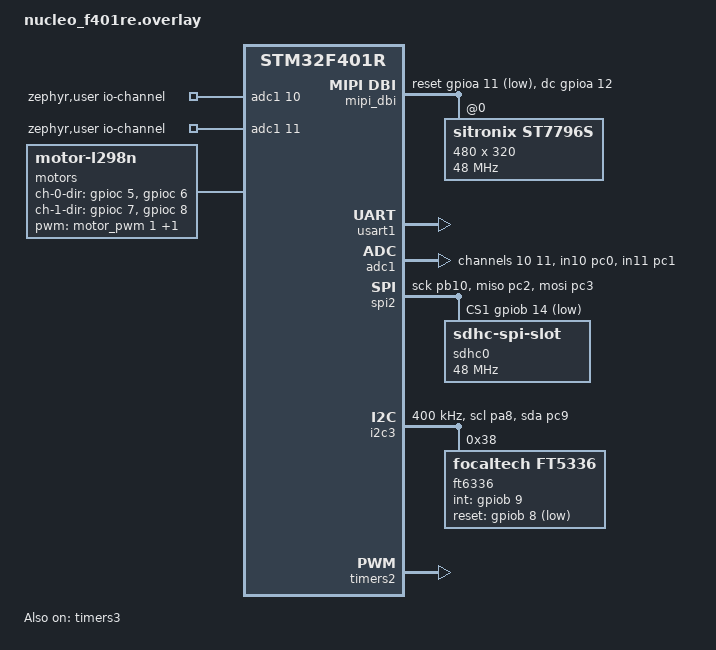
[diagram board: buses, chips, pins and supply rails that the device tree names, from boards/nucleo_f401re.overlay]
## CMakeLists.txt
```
#-------------------------------------------------------------------------------
# Zephyr Reloading Controller
#
# Copyright (c) 2025 Jared Woolston
# SPDX-License-Identifier: Apache-2.0

cmake_minimum_required(VERSION 3.13.1)
find_package(Zephyr REQUIRED HINTS $ENV{ZEPHYR_BASE})

project(app LANGUAGES C)

set(LVGL_DIR ${ZEPHYR_LVGL_MODULE_DIR})

target_sources(app PRIVATE
        src/main.c
        src/filesystem/filesystem.c
        src/filesystem/filesystem.h
        src/filesystem/lv_fs_zephyr.c
        src/filesystem/lv_fs_zephyr_conf.h
        src/gui/gui.c
        src/gui/gui.h
        src/feeders/feeder_subsystem.c
        src/feeders/feeder_subsystem.h
        #src/gui/splash_screen.c
        src/gui/events_init.c
        src/gui/events_init.h
        src/gui/gui_guider.c
        src/gui/gui_guider.h
        src/gui/setup_scr_home_scr.c
        src/gui/setup_scr_run_scr.c
        src/gui/setup_scr_settings_scr.c
        src/gui/setup_scr_splash_scr.c
        src/gui/widgets_init.c
        src/gui/widgets_init.h
        src/gui/fonts/lv_font_Mostra_Nuova_24.c
        src/gui/fonts/lv_font_Mostra_Nuova_32.c
        #src/gui/images/images_md5.json
        #src/gui/images/lottie_running_gear_animation.c
)
```

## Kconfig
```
# Copyright (c) 2021 Nordic Semiconductor ASA
# SPDX-License-Identifier: Apache-2.0
#
# This file is the application Kconfig entry point. All application Kconfig
# options can be defined here or included via other application Kconfig files.
# You can browse these options using the west targets menuconfig (terminal) or
# guiconfig (GUI).

menu "Zephyr"
source "Kconfig.zephyr"
endmenu

module = APP
module-str = APP
source "subsys/logging/Kconfig.template.log_config"

module = FEEDER_SUBSYSTEM
module-str = FEEDER_SUBSYSTEM
source "subsys/logging/Kconfig.template.log_config"

config FEEDER_FULL_SENSOR_THREAD_PRIORITY
	int "Feeder full sensor ADC measurement thread priority."
	default -1

config FEEDER_FULL_SENSOR_THRESHOLD_MV
    int "Threshold ADC mV reading which will trigger a transition in state of the feeder full sensor."
    default 1000

module = FILESYSTEM_SUBSYSTEM
module-str = FILESYSTEM_SUBSYSTEM
source "subsys/logging/Kconfig.template.log_config"

module = GUI_SUBSYSTEM
module-str = GUI_SUBSYSTEM
source "subsys/logging/Kconfig.template.log_config"

config LV_USE_FS_ZEPHYR
			bool "File system on top of Zephyr FS API"
		config LV_FS_ZEPHYR_LETTER
			int "Set an upper cased letter on which the drive will accessible (e.g. 65 for 'A')"
			default 0
			depends on LV_USE_FS_ZEPHYR
		config LV_FS_ZEPHYR_PATH
			string "Set the working directory"
			depends on LV_USE_FS_ZEPHYR
		config LV_FS_ZEPHYR_CACHE_SIZE
			int ">0 to cache this number of bytes in lv_fs_read()"
			default 0
			depends on LV_USE_FS_ZEPHYR
```

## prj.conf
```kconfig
CONFIG_INPUT=n
CONFIG_INPUT_EVENT_DUMP=n
CONFIG_COUNTER=y
CONFIG_FPU=y
CONFIG_SPI=y
CONFIG_SPI_STM32_DMA=n
CONFIG_GPIO=y
CONFIG_SERIAL=y
CONFIG_ADC=y
CONFIG_ADC_STM32_DMA=n
CONFIG_DMA=n
CONFIG_LED=y
CONFIG_PWM=n
CONFIG_SDHC=y
CONFIG_SDMMC_STACK=y
CONFIG_SENSOR=n
CONFIG_MOTOR=n
CONFIG_MOTOR_L298N=n

CONFIG_REQUIRES_FULL_LIBC=y
#CONFIG_CPP=y
#CONFIG_STD_CPP17=y
#CONFIG_GLIBCXX_LIBCPP=y
#CONFIG_REQUIRES_FULL_LIBCPP=y

#CONFIG_POSIX_API=y
#CONFIG_POSIX_AEP_CHOICE_PSE52=y
#CONFIG_POSIX_CLOCK=y
#CONFIG_POSIX_FILE_SYSTEM=y
#CONFIG_POSIX_ENV_SHELL=y

CONFIG_MAIN_STACK_SIZE=4096
CONFIG_HEAP_MEM_POOL_SIZE=8192
CONFIG_SYSTEM_WORKQUEUE_STACK_SIZE=1024
CONFIG_HW_STACK_PROTECTION=y
CONFIG_ARM_MPU=y
CONFIG_STACK_USAGE=n
CONFIG_HWINFO=y
CONFIG_SERIAL_INIT_PRIORITY=48

CONFIG_DISK_ACCESS=y
CONFIG_DISK_DRIVER_SDMMC=y
CONFIG_FILE_SYSTEM=y
#CONFIG_FILE_SYSTEM_EXT2=y
CONFIG_FAT_FILESYSTEM_ELM=y
CONFIG_FS_FATFS_EXFAT=y
CONFIG_FILE_SYSTEM_SHELL_TEST_COMMANDS=n
CONFIG_SETTINGS=n
#CONFIG_FS_FATFS_NUM_FILES=8
#CONFIG_DISK_LOG_LEVEL_DBG=y
#CONFIG_SD_LOG_LEVEL_DBG=y
#CONFIG_SDMMC_LOG_LEVEL_DBG=y
CONFIG_FILESYSTEM_SUBSYSTEM_LOG_LEVEL_DBG=y

CONFIG_DISPLAY=y
CONFIG_DISPLAY_LOG_LEVEL_WRN=y
CONFIG_INPUT_LOG_LEVEL_DBG=y

CONFIG_LOG=y
CONFIG_CONSOLE=y
CONFIG_UART_CONSOLE=y
CONFIG_LOG_BLOCK_IN_THREAD=y
CONFIG_LOG_MODE_OVERFLOW=n
#CONFIG_LOG_BACKEND_UART=y
CONFIG_LOG_SPEED=y
#CONFIG_LOG_MODE_IMMEDIATE=y
#CONFIG_LOG_RUNTIME_FILTERING=n
CONFIG_LOG_FUNC_NAME_PREFIX_ERR=y
CONFIG_LOG_FUNC_NAME_PREFIX_WRN=y
CONFIG_LOG_FUNC_NAME_PREFIX_INF=y
CONFIG_LOG_FUNC_NAME_PREFIX_DBG=y
CONFIG_LOG_THREAD_ID_PREFIX=y

CONFIG_LVGL=y
CONFIG_LV_USE_FS_ZEPHYR=y
CONFIG_LV_FS_ZEPHYR_LETTER=65
CONFIG_LV_FS_ZEPHYR_PATH="/SD:/image"
CONFIG_LV_USE_LOG=y
#CONFIG_LV_USE_DRAW_DMA2D=n
#CONFIG_LV_ENABLE_GLOBAL_CUSTOM=y
CONFIG_LV_USE_LODEPNG=y
CONFIG_LV_USE_BMP=n
#CONFIG_LV_USE_LIBPNG=y
#CONFIG_LV_USE_RLOTTIE=y
#CONFIG_LV_USE_THORVG=y
#CONFIG_LV_THEME_DEFAULT_DARK=y
CONFIG_LV_USE_THEME_SIMPLE=y
CONFIG_LV_BUILD_EXAMPLES=n
CONFIG_LV_USE_ARC=n
CONFIG_LV_USE_BAR=n
CONFIG_LV_USE_BUTTON=y
CONFIG_LV_USE_BUTTONMATRIX=n
CONFIG_LV_USE_CALENDAR=n
CONFIG_LV_USE_CANVAS=y
CONFIG_LV_USE_CHART=n
CONFIG_LV_USE_CHECKBOX=y
CONFIG_LV_USE_DROPDOWN=y
CONFIG_LV_USE_IMAGE=y
CONFIG_LV_USE_IMAGEBUTTON=n
CONFIG_LV_USE_KEYBOARD=n
CONFIG_LV_USE_LABEL=y
CONFIG_LV_LABEL_TEXT_SELECTION=y
CONFIG_LV_USE_LED=y
CONFIG_LV_USE_LINE=n
CONFIG_LV_USE_LIST=n
CONFIG_LV_USE_MENU=n
CONFIG_LV_USE_MSGBOX=n
CONFIG_LV_USE_ROLLER=n
CONFIG_LV_USE_SCALE=n
CONFIG_LV_USE_SLIDER=n
CONFIG_LV_USE_SPAN=n
CONFIG_LV_USE_SPINBOX=n
CONFIG_LV_USE_SPINNER=n
CONFIG_LV_USE_SWITCH=y
CONFIG_LV_USE_TEXTAREA=n
CONFIG_LV_USE_TABLE=n
CONFIG_LV_USE_TABVIEW=n
CONFIG_LV_USE_TILEVIEW=n
CONFIG_LV_USE_WIN=n
CONFIG_LV_USE_FLEX=y
CONFIG_LV_USE_GRID=n
CONFIG_LV_DRAW_SW_SUPPORT_RGB565A8=n
CONFIG_LV_DRAW_SW_SUPPORT_RGB888=n
CONFIG_LV_DRAW_SW_SUPPORT_XRGB8888=n
CONFIG_LV_DRAW_SW_SUPPORT_ARGB8888=n
CONFIG_LV_DRAW_SW_SUPPORT_L8=n
CONFIG_LV_DRAW_SW_SUPPORT_AL88=n
CONFIG_LV_DRAW_SW_SUPPORT_A8=n
CONFIG_LV_DRAW_SW_SUPPORT_I1=n
#CONFIG_LV_USE_MONKEY=y
CONFIG_LV_FONT_MONTSERRAT_14=y
CONFIG_LV_Z_MEM_POOL_SIZE=16384
CONFIG_LV_Z_SHELL=y
CONFIG_LV_Z_BITS_PER_PIXEL=16
#CONFIG_LV_USE_REFR_DEBUG=y
#CONFIG_LV_USE_LAYER_DEBUG=y

#CONFIG_USB_DEVICE_DRIVER=y
#CONFIG_USB_CDC_ACM=y
#CONFIG_USB_DEVICE_STACK=y
#CONFIG_USB_DEVICE_VID=0x2E8A
#CONFIG_USB_DEVICE_PID=0x0009
#CONFIG_USB_DEVICE_INITIALIZE_AT_BOOT=y

CONFIG_SHELL=y
CONFIG_ADC_SHELL=n
CONFIG_GPIO_SHELL=n
#CONFIG_HWINFO_SHELL=y
CONFIG_I2C_SHELL=n
CONFIG_LED_SHELL=n
CONFIG_SENSOR_SHELL=n
CONFIG_SPI_SHELL=n
CONFIG_PWM_SHELL=n
CONFIG_FILE_SYSTEM_SHELL=n
#CONFIG_SETTINGS_SHELL=y
CONFIG_MOTOR_SHELL=n
#CONFIG_USB_DEVICE_DRIVER=y
#CONFIG_USB_DEVICE_STACK_NEXT=y

#CONFIG_STDOUT_CONSOLE=y
#CONFIG_UART_LINE_CTRL=y
#CONFIG_USBD_CDC_ACM_CLASS=y
#CONFIG_USBD_LOG_LEVEL_WRN=y
#CONFIG_UDC_DRIVER_LOG_LEVEL_WRN=y
#CONFIG_USBD_CDC_ACM_LOG_LEVEL_ERR=y
#CONFIG_CDC_ACM_SERIAL_INITIALIZE_AT_BOOT=y
#CONFIG_CDC_ACM_SERIAL_SELF_POWERED=y

CONFIG_DEBUG=y
#CONFIG_DEBUG_INFO=y
#CONFIG_SYMTAB=y
CONFIG_DEBUG_THREAD_INFO=y
CONFIG_APP_LOG_LEVEL_DBG=y
CONFIG_MOTOR_LOG_LEVEL_WRN=y
CONFIG_LV_LOG_LEVEL_INFO=y
CONFIG_NO_OPTIMIZATIONS=y
#CONFIG_I2C_LOG_LEVEL_DBG=n
#CONFIG_MPU_LOG_LEVEL_DBG=y
#CONFIG_THREAD_ANALYZER=y
#CONFIG_THREAD_ANALYZER_USE_LOG=y
#CONFIG_THREAD_ANALYZER_AUTO=y
```

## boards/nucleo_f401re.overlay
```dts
/*
 * Copyright (c) 2022 STMicroelectronics
 *
 * SPDX-License-Identifier: Apache-2.0
 *
 * Application overlay for creating quadrature decoder device instance
 */

#include <st/f4/stm32f401r(d-e)tx-pinctrl.dtsi>
#include <zephyr/dt-bindings/display/panel.h>
#include <zephyr/dt-bindings/input/input-event-codes.h>
#include <zephyr/dt-bindings/pwm/pwm.h>
#include <zephyr/dt-bindings/lvgl/lvgl.h>
#include <zephyr/dt-bindings/spi/spi.h>

/ {
	chosen {
		zephyr,console = &usart1;
		zephyr,shell-uart = &usart1;
		zephyr,display = &st7796s;
	};

	aliases {
		qdec0 = &qdec;
		motor0 = &motors;
	};

	zephyr,user {
		io-channels = <&adc1 10>, <&adc1 11>;
	};

	lvgl_encoder {
		compatible = "zephyr,lvgl-encoder-input";
		rotation-input-code = <INPUT_REL_WHEEL>;
		button-input-code = <INPUT_KEY_0>;
	};

	pointer {
		compatible = "zephyr,lvgl-pointer-input";
		input = <&ft6336>;
		//invert-y;
	};

	motors: motor {
		compatible = "motor-l298n";
		pwms = <&motor_pwm 1 PWM_MSEC(20) PWM_POLARITY_NORMAL>, // tim2_ch1_pa0
			   <&motor_pwm 2 PWM_MSEC(20) PWM_POLARITY_NORMAL>; // tim2_ch2_pa1
		ch-0-dir-gpios = <&gpioc 5 (GPIO_ACTIVE_HIGH | GPIO_PULL_UP)>, <&gpioc 6 (GPIO_ACTIVE_HIGH | GPIO_PULL_UP)>;
		ch-1-dir-gpios = <&gpioc 7 (GPIO_ACTIVE_HIGH | GPIO_PULL_UP)>, <&gpioc 8 (GPIO_ACTIVE_HIGH | GPIO_PULL_UP)>;
	};

	mipi_dbi {
		compatible = "zephyr,mipi-dbi-spi";
		spi-dev = <&spi2>;
		dc-gpios = <&gpioa 12 GPIO_ACTIVE_HIGH>;
		reset-gpios = <&gpioa 11 GPIO_ACTIVE_LOW>;
		#address-cells = <1>;
		#size-cells = <0>;

		st7796s: st7796s@0 {
			compatible = "sitronix,st7796s";
			status = "okay";
			reg = <0>;
			mipi-max-frequency = <48000000>;
			duplex = <SPI_FULL_DUPLEX>;
			height = <320>;
			width = <480>;
			//invert-mode = "1-dot";
			//frmctl1 = [80 10];
			//bpc = [1F 50 00 20];
			//dfc = [8A 07 3B];
			//pwr1 = [80 64];
			//pwr2 = <0x13>;
			//pwr3 = <0xA7>;
			//vcmpctl = <0x09>;
			//doca = [40 8A 00 00 29 19 A5 38];
			pgc = [F0 06 0B 07 06 05 2E 33 47 3A 17 16 2E 31];
			ngc = [F0 09 0D 09 08 23 2E 33 46 38 13 13 2C 32];
			madctl = <0x20>;
		};
	};
};

&leds {
	status = "okay";
};

&usart1 {
	status = "okay";
};

&adc1 {
	dmas = <&dma2 0 0 (STM32_DMA_PERIPH_RX | STM32_DMA_MEM_16BITS | STM32_DMA_PERIPH_16BITS) STM32_DMA_FIFO_FULL>;
	dma-names = "dma";

	pinctrl-0 = <&adc1_in10_pc0 &adc1_in11_pc1>;
	#address-cells = <1>;
	#size-cells = <0>;

	brass_signal: channel@a {
		reg = <10>;
		zephyr,gain = "ADC_GAIN_1";
		zephyr,reference = "ADC_REF_INTERNAL";
		zephyr,acquisition-time = <ADC_ACQ_TIME_DEFAULT>;
		zephyr,resolution = <12>;
	};

	bullet_signal: channel@b {
		reg = <11>;
		zephyr,gain = "ADC_GAIN_1";
		zephyr,reference = "ADC_REF_INTERNAL";
		zephyr,acquisition-time = <ADC_ACQ_TIME_DEFAULT>;
		zephyr,resolution = <12>;
	};
};

&dma2 {
	status = "okay";
};

&spi2 {
	pinctrl-0 = <&spi2_sck_pb10 &spi2_miso_pc2 &spi2_mosi_pc3>;
	pinctrl-names = "default";
	status = "okay";
	cs-gpios = <&gpiob 12 GPIO_ACTIVE_LOW>,
			   <&gpiob 14 GPIO_ACTIVE_LOW>;

	sdhc0: sdhc@1 {
		compatible = "zephyr,sdhc-spi-slot";
		reg = <1>;
		status = "okay";
		spi-max-frequency = <48000000>;
		//spi-clock-mode-cpol;
		//spi-clock-mode-cpha;

		mmc {
			compatible = "zephyr,sdmmc-disk";
			disk-name = "SD";
			status = "okay";
		};
	};
};

&i2c3 {
	pinctrl-0 = <&i2c3_scl_pa8 &i2c3_sda_pc9>;
	pinctrl-names = "default";
	status = "okay";
	clock-frequency = <I2C_BITRATE_FAST>;

	ft6336: ft6336@38 {
		compatible = "focaltech,ft5336";
		reg = <0x38>;
		int-gpios = <&gpiob 9 GPIO_ACTIVE_HIGH>;
		reset-gpios = <&gpiob 8 GPIO_ACTIVE_LOW>;
	};

	vl53l0x@29 {
		compatible = "st,vl53l0x";
		reg = <0x29>;
		xshut-gpios = <&gpioc 4 GPIO_ACTIVE_LOW>;
		status = "disabled";
	};
};

&timers2 {
	status = "okay";

	motor_pwm: pwm {
		status = "okay";
		pinctrl-0 = <&tim2_ch1_pa0 &tim2_ch2_pa1>;
		pinctrl-names = "default";
	};
};

&timers3 {
	status = "okay";

	qdec: qdec {
		status = "okay";
		pinctrl-0 = <&tim3_ch1_pa6 &tim3_ch2_pa7>;
		pinctrl-names = "default";
		st,input-polarity-inverted;
		st,input-filter-level = <FDIV32_N8>;
		st,counts-per-revolution = <20>;
	};
};

&i2c1 {
	status = "disabled";
};

&i2c2 {
	status = "disabled";
};

&spi1 {
	status = "disabled";
};

&spi3 {
	status = "disabled";
};
```

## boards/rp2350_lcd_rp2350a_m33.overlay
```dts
#include <zephyr/dt-bindings/dma/rpi-pico-dma-rp2350.h>
#include <zephyr/dt-bindings/pinctrl/rpi-pico-rp2350a-pinctrl.h>

/ {
	lvgl_encoder {
		compatible = "zephyr,lvgl-encoder-input";
		rotation-input-code = <INPUT_REL_WHEEL>;
		button-input-code = <INPUT_KEY_0>;
	};

	motors: motors {
		compatible = "motor-l298n";
		pwms = <&pwm 0 PWM_MSEC(20) PWM_POLARITY_NORMAL>, // PWM_0A_P16
			   <&pwm 1 PWM_MSEC(20) PWM_POLARITY_NORMAL>; // PWM_0B_P17
		ch-1-dir-gpios = <&gpio0 18 (GPIO_ACTIVE_LOW | GPIO_PULL_UP)>;
		ch-2-dir-gpios = <&gpio0 26 (GPIO_ACTIVE_LOW | GPIO_PULL_UP)>;
	};
};

&pinctrl {
	pio1_qdec_default: pio1_qdec_default {
		clk_pin {
			pinmux = <PIO1_P13>;
			input-enable;
			bias-pull-down;
		};
		dt_pin {
			pinmux = <PIO1_P14>;
			input-enable;
			bias-pull-down;
		};
	};
};

&pio1 {
	status = "okay";

	pio1_qdec: qdec0 {
		status = "okay";
		compatible = "raspberrypi,pico-qdec-pio";
		pinctrl-0 = <&pio1_qdec_default>;
		pinctrl-names = "default";
		btn-gpios = <&gpio0 15 (GPIO_ACTIVE_LOW | GPIO_PULL_UP)>;
		zephyr,axis = <INPUT_REL_WHEEL>;
		zephyr,key = <INPUT_KEY_0>;
		dmas = <&dma 0 RPI_PICO_DMA_SLOT_PIO1_RX0 0>;
		dma-names = "qdec";
		max-update-freq = <2000>;
	};
};

&dma {
	status = "okay";
};
```

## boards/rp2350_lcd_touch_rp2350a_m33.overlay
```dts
#include <zephyr/dt-bindings/dma/rpi-pico-dma-rp2350.h>
#include <zephyr/dt-bindings/pinctrl/rpi-pico-rp2350a-pinctrl.h>

/ {
	aliases {
		motor0 = &motor_l298n;
	};

	lvgl_encoder {
		compatible = "zephyr,lvgl-encoder-input";
		rotation-input-code = <INPUT_REL_WHEEL>;
		button-input-code = <INPUT_KEY_0>;
	};

	motor_l298n: motor0 {
		compatible = "motor-l298n";
		pwms = <&pwm 0 PWM_MSEC(20) PWM_POLARITY_NORMAL>, // PWM_0A_P16
			   <&pwm 1 PWM_MSEC(20) PWM_POLARITY_NORMAL>; // PWM_0B_P17
		ch-1-dir-gpios = <&gpio0 18 (GPIO_ACTIVE_LOW | GPIO_PULL_UP)>;
		ch-2-dir-gpios = <&gpio0 26 (GPIO_ACTIVE_LOW | GPIO_PULL_UP)>;
	};
};

&pinctrl {
	pio1_qdec_default: pio1_qdec_default {
		clk_pin {
			pinmux = <PIO1_P16>;
			input-enable;
			bias-pull-down;
		};
		dt_pin {
			pinmux = <PIO1_P17>;
			input-enable;
			bias-pull-down;
		};
	};

	pwm_ch6a_default: pwm_ch6a_default {
		group1 {
			pinmux = <PWM_6A_P28>;
		};
	};

	pwm_ch5b_default: pwm_ch5b_default {
		group1 {
			pinmux = <PWM_5B_P27>;
		};
	};

	pwm_ch5a_default: pwm_ch5a_default {
		group1 {
			pinmux = <PWM_5A_P26>;
		};
	};
};

&pwm {
	pinctrl-0 = <&pwm_ch6a_default>, <&pwm_ch5b_default>, <&pwm_ch5a_default>;
	pinctrl-names = "default";
	divider-int-6 = <255>;
	divider-int-5 = <255>;
	status = "okay";
};

&pio1 {
	status = "okay";

	pio1_qdec: qdec0 {
		status = "okay";
		compatible = "raspberrypi,pico-qdec-pio";
		pinctrl-0 = <&pio1_qdec_default>;
		pinctrl-names = "default";
		btn-gpios = <&gpio0 18 (GPIO_ACTIVE_LOW | GPIO_PULL_UP)>;
		zephyr,axis = <INPUT_REL_WHEEL>;
		zephyr,key = <INPUT_KEY_0>;
		dmas = <&dma 0 RPI_PICO_DMA_SLOT_PIO1_RX0 0>;
		dma-names = "qdec";
		max-update-freq = <2000>;
	};
};

&dma {
	status = "okay";
};
```

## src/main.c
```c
/*
 * Copyright (c) 2021 Nordic Semiconductor ASA
 * SPDX-License-Identifier: Apache-2.0
 */

#include <zephyr/kernel.h>
#include <zephyr/device.h>
#include <zephyr/devicetree.h>
#include <zephyr/drivers/adc.h>
#include <zephyr/drivers/led.h>
#include <zephyr/drivers/gpio.h>
#include <zephyr/drivers/pwm.h>
#include <zephyr/sys/util.h>

#include "feeders/feeder_subsystem.h"
#include "filesystem/filesystem.h"
#include "gui/gui.h"

#include <zephyr/logging/log.h>

LOG_MODULE_REGISTER(main, CONFIG_LOG_DEFAULT_LEVEL);

#define LED0_NODE DT_ALIAS(led0)

static const struct gpio_dt_spec led = GPIO_DT_SPEC_GET(LED0_NODE, gpios);

int main(void) {

    if (!gpio_is_ready_dt(&led)) {
        return 0;
    }

    int ret = gpio_pin_configure_dt(&led, GPIO_OUTPUT_ACTIVE);
    if (ret) {
        LOG_ERR("Failed to configure heartbeat LED: %d", ret);
        return ret;
    }

    LOG_INF("Initializing Filesystem");
    mount_filesystem();

    LOG_INF("Initializing GUI");
    ret = reloading_gui();
    if (ret) {
        LOG_ERR("Failed to to initialize GUI. Error: %d", ret);
        return ret;
    }

    /*LOG_INF("Initializing feeder subsystem");
    ret = feeder_subsystem_init();
    if (ret) {
        LOG_ERR("Failed to initialize feeder_subsystem: %d", ret);
        return ret;
    }*/

    int loop_count = 0;
    while (1) {
        //reloading_gui_loop_handler();

        if (loop_count == 10) {
            // Toggle heartbeat LED
            ret = gpio_pin_toggle_dt(&led);
            if (ret) {
                LOG_ERR("Failed to toggle heartbeat LED: %d", ret);
            }
            loop_count = 0;
        } else {
            ++loop_count;
        }

        k_sleep(K_MSEC(10));
    }
    return 0;
}
```

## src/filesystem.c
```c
//
// Created by Jared Woolston on 3/10/2025.
//

#include "filesystem.h"

LOG_MODULE_REGISTER(filesystem);

#if defined(CONFIG_FAT_FILESYSTEM_ELM)

static FATFS fat_fs;
/* mounting info */
static struct fs_mount_t mp = {
    .type = FS_FATFS,
    .fs_data = &fat_fs,
};

#elif defined(CONFIG_FILE_SYSTEM_EXT2)

static struct fs_mount_t mp = {
    .type = FS_EXT2,
    .flags = FS_MOUNT_FLAG_NO_FORMAT,
    .storage_dev = (void *)DISK_DRIVE_NAME,
    .mnt_point = "/ext",
};

#endif

static const char* disk_mount_pt = DISK_MOUNT_PT;

int mount_filesystem(void) {
    mp.mnt_point = disk_mount_pt;

    const int res = fs_mount(&mp);

    if (res == FS_RET_OK) {
        LOG_DBG("Disk mounted.");
    } else {
        LOG_ERR("Error mounting disk: %d", res);
    }

    return res;
}

int unmount_filesystem(void) {
    const int res = fs_unmount(&mp);
    if (res != FS_RET_OK) {
        LOG_DBG("Error unmounting disk");
        return res;
    }
    return 0;
}
```

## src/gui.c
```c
#include "gui.h"

#include <zephyr/device.h>
#include <zephyr/devicetree.h>
#include <lvgl.h>
#include <stdio.h>
#include <zephyr/logging/log.h>

LOG_MODULE_REGISTER(gui, CONFIG_LOG_DEFAULT_LEVEL);

lv_ui guider_ui;

int reloading_gui(void)
{
    const struct device* display_dev;

    LOG_INF("Getting display");
    display_dev = DEVICE_DT_GET(DT_CHOSEN(zephyr_display));
    if (!device_is_ready(display_dev)) {
        LOG_ERR("Device %s not found. Aborting sample.",
                display_dev->name);
        return -EINVAL;
    }

    LOG_INF("Display sample for %s", display_dev->name);

    setup_ui(&guider_ui);
    events_init(&guider_ui);

    lv_task_handler();
    display_blanking_off(display_dev);
    return 0;
}

void reloading_gui_loop_handler(void) {
    lv_task_handler();
}
```

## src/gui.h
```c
//
// Created by Jared Woolston on 3/8/2025.
//

#ifndef GUI_H
#define GUI_H

#include "zephyr/drivers/display.h"
#include "gui/gui_guider.h"
#include "gui/events_init.h"

int reloading_gui(void);

void reloading_gui_loop_handler(void);

#endif //GUI_H
```
